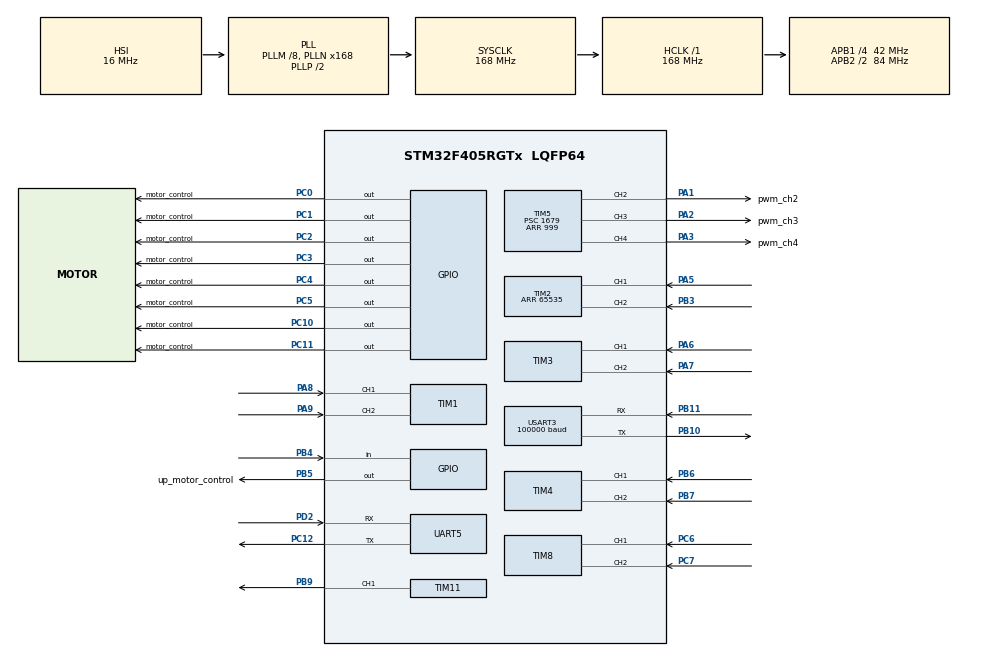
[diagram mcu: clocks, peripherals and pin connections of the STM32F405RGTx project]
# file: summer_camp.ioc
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Dma.Request0=USART3_RX
Dma.Request1=UART5_RX
Dma.UART5_RX.1.Direction=DMA_PERIPH_TO_MEMORY
Dma.UART5_RX.1.FIFOMode=DMA_FIFOMODE_DISABLE
Dma.UART5_RX.1.Instance=DMA1_Stream0
Dma.UART5_RX.1.MemDataAlignment=DMA_MDATAALIGN_BYTE
Dma.UART5_RX.1.MemInc=DMA_MINC_ENABLE
Dma.UART5_RX.1.Mode=DMA_NORMAL
Dma.UART5_RX.1.PeriphDataAlignment=DMA_PDATAALIGN_BYTE
Dma.UART5_RX.1.PeriphInc=DMA_PINC_DISABLE
Dma.UART5_RX.1.Priority=DMA_PRIORITY_HIGH
Dma.USART3_RX.0.Direction=DMA_PERIPH_TO_MEMORY
Dma.USART3_RX.0.FIFOMode=DMA_FIFOMODE_DISABLE
Dma.USART3_RX.0.Instance=DMA1_Stream1
Dma.USART3_RX.0.MemDataAlignment=DMA_MDATAALIGN_BYTE
Dma.USART3_RX.0.MemInc=DMA_MINC_ENABLE
Dma.USART3_RX.0.Mode=DMA_NORMAL
Dma.USART3_RX.0.PeriphDataAlignment=DMA_PDATAALIGN_BYTE
Dma.USART3_RX.0.PeriphInc=DMA_PINC_DISABLE
Dma.USART3_RX.0.Priority=DMA_PRIORITY_VERY_HIGH
FREERTOS.Tasks01=defaultTask,0,128,StartDefaultTask,Default,NULL,Dynamic,NULL,NULL
Mcu.Family=STM32F4
Mcu.Name=STM32F405RGTx
Mcu.Package=LQFP64
NVIC.DMA1_Stream0_IRQn=true\:5\:0\:false\:false\:true\:true\:false\:true\:true
NVIC.DMA1_Stream1_IRQn=true\:5\:0\:false\:false\:true\:true\:false\:true\:true
NVIC.PriorityGroup=NVIC_PRIORITYGROUP_4
NVIC.TIM6_DAC_IRQn=true\:15\:0\:false\:false\:true\:false\:true\:true\:true
NVIC.TimeBase=TIM6_DAC_IRQn
NVIC.TimeBaseIP=TIM6
NVIC.UART5_IRQn=true\:5\:0\:false\:false\:true\:true\:true\:true\:true
NVIC.USART3_IRQn=true\:5\:0\:false\:false\:true\:true\:true\:true\:true
PA1.GPIO_Label=pwm_ch2
PA1.Signal=S_TIM5_CH2
PA13.Mode=Serial_Wire
PA13.Signal=SYS_JTMS-SWDIO
PA14.Mode=Serial_Wire
PA14.Signal=SYS_JTCK-SWCLK
PA2.GPIO_Label=pwm_ch3
PA2.Signal=S_TIM5_CH3
PA3.GPIO_Label=pwm_ch4
PA3.Signal=S_TIM5_CH4
PA5.Signal=S_TIM2_CH1_ETR
PA6.Signal=S_TIM3_CH1
PA7.Signal=S_TIM3_CH2
PA8.Signal=S_TIM1_CH1
PA9.Signal=S_TIM1_CH2
PB10.Mode=Asynchronous
PB10.Signal=USART3_TX
PB11.Mode=Asynchronous
PB11.Signal=USART3_RX
PB3.Signal=S_TIM2_CH2
PB4.Signal=GPIO_Input
PB5.GPIO_Label=up_motor_control
PB5.Signal=GPIO_Output
PB6.Signal=S_TIM4_CH1
PB7.Signal=S_TIM4_CH2
PB9.Signal=S_TIM11_CH1
PC0.GPIO_Label=motor_control
PC0.Signal=GPIO_Output
PC1.GPIO_Label=motor_control
PC1.Signal=GPIO_Output
PC10.GPIO_Label=motor_control
PC10.Signal=GPIO_Output
PC11.GPIO_Label=motor_control
PC11.Signal=GPIO_Output
PC12.Mode=Asynchronous
PC12.Signal=UART5_TX
PC2.GPIO_Label=motor_control
PC2.Signal=GPIO_Output
PC3.GPIO_Label=motor_control
PC3.Signal=GPIO_Output
PC4.GPIO_Label=motor_control
PC4.Signal=GPIO_Output
PC5.GPIO_Label=motor_control
PC5.Signal=GPIO_Output
PC6.Signal=S_TIM8_CH1
PC7.Signal=S_TIM8_CH2
PD2.Mode=Asynchronous
PD2.Signal=UART5_RX
PH0-OSC_IN.Mode=HSE-External-Oscillator
PH0-OSC_IN.Signal=RCC_OSC_IN
PH1-OSC_OUT.Mode=HSE-External-Oscillator
PH1-OSC_OUT.Signal=RCC_OSC_OUT
ProjectManager.HeapSize=0x200
ProjectManager.StackSize=0x400
ProjectManager.TargetToolchain=MDK-ARM V5.32
RCC.48MHZClocksFreq_Value=84000000
RCC.AHBFreq_Value=168000000
RCC.APB1CLKDivider=RCC_HCLK_DIV4
RCC.APB1Freq_Value=42000000
RCC.APB1TimFreq_Value=84000000
RCC.APB2CLKDivider=RCC_HCLK_DIV2
RCC.APB2Freq_Value=84000000
RCC.APB2TimFreq_Value=168000000
RCC.CortexFreq_Value=168000000
RCC.HCLKFreq_Value=168000000
RCC.HSE_VALUE=25000000
RCC.HSI_VALUE=16000000
RCC.LSE_VALUE=32768
RCC.PLLM=8
RCC.PLLN=168
RCC.SYSCLKFreq_VALUE=168000000
RCC.SYSCLKSource=RCC_SYSCLKSOURCE_PLLCLK
RCC.VCOOutputFreq_Value=336000000
SH.S_TIM11_CH1.0=TIM11_CH1,PWM Generation1 CH1
SH.S_TIM1_CH1.0=TIM1_CH1,Encoder_Interface
SH.S_TIM1_CH2.0=TIM1_CH2,Encoder_Interface
SH.S_TIM2_CH1_ETR.0=TIM2_CH1,Encoder_Interface
SH.S_TIM2_CH2.0=TIM2_CH2,Encoder_Interface
SH.S_TIM3_CH1.0=TIM3_CH1,Encoder_Interface
SH.S_TIM3_CH2.0=TIM3_CH2,Encoder_Interface
SH.S_TIM4_CH1.0=TIM4_CH1,Encoder_Interface
SH.S_TIM4_CH2.0=TIM4_CH2,Encoder_Interface
SH.S_TIM5_CH2.0=TIM5_CH2,PWM Generation2 CH2
SH.S_TIM5_CH3.0=TIM5_CH3,PWM Generation3 CH3
SH.S_TIM5_CH4.0=TIM5_CH4,PWM Generation4 CH4
SH.S_TIM8_CH1.0=TIM8_CH1,Encoder_Interface
SH.S_TIM8_CH2.0=TIM8_CH2,Encoder_Interface
TIM1.EncoderMode=TIM_ENCODERMODE_TI12
TIM11.Channel=TIM_CHANNEL_1
TIM11.Period=99
TIM11.Prescaler=83
TIM2.EncoderMode=TIM_ENCODERMODE_TI12
TIM2.Period=65535
TIM3.EncoderMode=TIM_ENCODERMODE_TI12
TIM4.EncoderMode=TIM_ENCODERMODE_TI12
TIM5.Channel-PWM\ Generation2\ CH2=TIM_CHANNEL_2
TIM5.Channel-PWM\ Generation3\ CH3=TIM_CHANNEL_3
TIM5.Channel-PWM\ Generation4\ CH4=TIM_CHANNEL_4
TIM5.Period=999
TIM5.Prescaler=1679
UART5.VirtualMode=Asynchronous
USART3.BaudRate=100000
USART3.Mode=MODE_TX_RX
USART3.Parity=PARITY_EVEN
USART3.StopBits=STOPBITS_1
USART3.VirtualMode=VM_ASYNC
USART3.WordLength=WORDLENGTH_8B
VP_FREERTOS_VS_CMSIS_V1.Mode=CMSIS_V1
VP_SYS_VS_tim6.Mode=TIM6
VP_TIM11_VS_ClockSourceINT.Mode=Enable_Timer
VP_TIM5_VS_ClockSourceINT.Mode=Internal
board=custom

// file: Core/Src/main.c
/* USER CODE BEGIN Header */
/**
  ******************************************************************************
  * @file           : main.c
  * @brief          : Main program body
  ******************************************************************************
  * @attention
  *
  * Copyright (c) 2025 STMicroelectronics.
  * All rights reserved.
  *
  * This software is licensed under terms that can be found in the LICENSE file
  * in the root directory of this software component.
  * If no LICENSE file comes with this software, it is provided AS-IS.
  *
  ******************************************************************************
  */
/* USER CODE END Header */
#include "main.h"
#include "cmsis_os.h"
#include "dma.h"
#include "tim.h"
#include "usart.h"
#include "gpio.h"

/* USER CODE BEGIN Includes */
#include "bsp_rc.h"
#include "remote_control.h"
#include "stm32f4xx_it.h"
/* USER CODE END Includes */

/* USER CODE BEGIN PM */
extern uint8_t uart5_rx_buf[UART5_RX_LEN];
extern Massage msg;
/* USER CODE END PM */

void SystemClock_Config(void);
void MX_FREERTOS_Init(void);

/* USER CODE BEGIN 0 */
const RC_ctrl_t *local_rc_ctrl;
/* USER CODE END 0 */

int main(void)
{

  /* MCU Configuration--------------------------------------------------------*/

  /* Reset of all peripherals, Initializes the Flash interface and the Systick. */
  HAL_Init();

  /* Configure the system clock */
  SystemClock_Config();

  /* Initialize all configured peripherals */
  MX_GPIO_Init();
  MX_DMA_Init();
  MX_TIM1_Init();
  MX_TIM2_Init();
  MX_TIM3_Init();
  MX_TIM4_Init();
  MX_TIM5_Init();
  MX_TIM8_Init();
  MX_USART3_UART_Init();
  MX_UART5_Init();
  MX_TIM11_Init();
  /* USER CODE BEGIN 2 */
	HAL_TIM_PWM_Start(&htim5,TIM_CHANNEL_2);
	HAL_TIM_PWM_Start(&htim5,TIM_CHANNEL_3);
	HAL_TIM_PWM_Start(&htim5,TIM_CHANNEL_4);
	HAL_TIM_PWM_Start(&htim11,TIM_CHANNEL_1);

	__HAL_UART_ENABLE_IT(&huart5, UART_IT_IDLE);  // ?? IDLE ??
	huart5.Instance->CR1 |= USART_CR1_IDLEIE;     // ???????(????)
	HAL_UART_Receive_DMA(&huart5, uart5_rx_buf, UART5_RX_LEN);  // ?? DMA ??

//	__HAL_UART_ENABLE_IT(&huart5, UART_IT_IDLE);
//	HAL_UART_Receive_DMA(&huart5, uart5_rx_buf, UART5_RX_LEN);
	msg.x=0;msg.y=0;msg.z=0;msg.yaw=0;
	remote_control_init();
  local_rc_ctrl = get_remote_control_point();

	//dbus_uart_init();
  /* USER CODE END 2 */

  /* Call init function for freertos objects (in cmsis_os2.c) */
  MX_FREERTOS_Init();

  /* Start scheduler */
  osKernelStart();

  /* We should never get here as control is now taken by the scheduler */

  /* Infinite loop */
  while (1)
  {

  }
}

void SystemClock_Config(void)
{
  RCC_OscInitTypeDef RCC_OscInitStruct = {0};
  RCC_ClkInitTypeDef RCC_ClkInitStruct = {0};

  /** Configure the main internal regulator output voltage
  */
  __HAL_RCC_PWR_CLK_ENABLE();
  __HAL_PWR_VOLTAGESCALING_CONFIG(PWR_REGULATOR_VOLTAGE_SCALE1);

  /** Initializes the RCC Oscillators according to the specified parameters
  * in the RCC_OscInitTypeDef structure.
  */
  RCC_OscInitStruct.OscillatorType = RCC_OSCILLATORTYPE_HSI;
  RCC_OscInitStruct.HSIState = RCC_HSI_ON;
  RCC_OscInitStruct.HSICalibrationValue = RCC_HSICALIBRATION_DEFAULT;
  RCC_OscInitStruct.PLL.PLLState = RCC_PLL_ON;
  RCC_OscInitStruct.PLL.PLLSource = RCC_PLLSOURCE_HSI;
  RCC_OscInitStruct.PLL.PLLM = 8;
  RCC_OscInitStruct.PLL.PLLN = 168;
  RCC_OscInitStruct.PLL.PLLP = RCC_PLLP_DIV2;
  RCC_OscInitStruct.PLL.PLLQ = 4;
  if (HAL_RCC_OscConfig(&RCC_OscInitStruct) != HAL_OK)
  {
    Error_Handler();
  }

  /** Initializes the CPU, AHB and APB buses clocks
  */
  RCC_ClkInitStruct.ClockType = RCC_CLOCKTYPE_HCLK|RCC_CLOCKTYPE_SYSCLK
                              |RCC_CLOCKTYPE_PCLK1|RCC_CLOCKTYPE_PCLK2;
  RCC_ClkInitStruct.SYSCLKSource = RCC_SYSCLKSOURCE_PLLCLK;
  RCC_ClkInitStruct.AHBCLKDivider = RCC_SYSCLK_DIV1;
  RCC_ClkInitStruct.APB1CLKDivider = RCC_HCLK_DIV4;
  RCC_ClkInitStruct.APB2CLKDivider = RCC_HCLK_DIV2;

  if (HAL_RCC_ClockConfig(&RCC_ClkInitStruct, FLASH_LATENCY_5) != HAL_OK)
  {
    Error_Handler();
  }
}

void HAL_TIM_PeriodElapsedCallback(TIM_HandleTypeDef *htim)
{
  if (htim->Instance == TIM6) {
    HAL_IncTick();
  }
}

void Error_Handler(void)
{
  __disable_irq();
  while (1)
  {
  }
}

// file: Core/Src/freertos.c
/* USER CODE BEGIN Header */
/**
  ******************************************************************************
  * File Name          : freertos.c
  * Description        : Code for freertos applications
  ******************************************************************************
  * @attention
  *
  * Copyright (c) 2025 STMicroelectronics.
  * All rights reserved.
  *
  * This software is licensed under terms that can be found in the LICENSE file
  * in the root directory of this software component.
  * If no LICENSE file comes with this software, it is provided AS-IS.
  *
  ******************************************************************************
  */
/* USER CODE END Header */

#include "FreeRTOS.h"
#include "task.h"
#include "main.h"
#include "cmsis_os.h"

/* USER CODE BEGIN Includes */
#include "tim.h"
#include "math.h"
#include <stdlib.h>
#include "bsp_rc.h"
#include "remote_control.h"
#include "stm32f4xx_it.h"
/* USER CODE END Includes */

/* USER CODE BEGIN PTD */

typedef struct{
	int now;
	int last;
	int vref;
	int err;
	int pout;
	int iout;
	int out;

	TIM_HandleTypeDef encoder;  //读取电机编码器回传数据
	GPIO_TypeDef *ENG1;					//in1通道
  uint16_t ENP1;							//
	GPIO_TypeDef *ENG2;					//in2通道
  uint16_t ENP2;							//

}Motor;

typedef struct{
    int RB;
    int RF;
    int LB;
    int LF;
		int UP;
}Speed;

/* USER CODE END PTD */

/* USER CODE BEGIN PD */

#define Stop_State 0
#define Forward_State 1
#define Back_State 2
#define Right_State 3
#define Left_State 4
#define Rrotate_State 5
#define Lrotate_State 6

#define Normal 0
#define Fast 1
#define Slow 2

#define out_control 70
/* USER CODE END PD */

/* USER CODE BEGIN Variables */

int state=Stop_State;
int up_state=Stop_State;
int speedset=Slow;
extern Massage msg;

Speed myspeed;
Motor RB;
Motor RF;
Motor LB;
Motor LF;
Motor UP;

extern const RC_ctrl_t *local_rc_ctrl;
/* USER CODE END Variables */
osThreadId defaultTaskHandle;

/* USER CODE BEGIN FunctionPrototypes */
osThreadId MotorHandle;
osThreadId GimbalHandle;
/* USER CODE END FunctionPrototypes */

void StartDefaultTask(void const * argument);

void MX_FREERTOS_Init(void); /* (MISRA C 2004 rule 8.1) */

/* GetIdleTaskMemory prototype (linked to static allocation support) */
void vApplicationGetIdleTaskMemory( StaticTask_t **ppxIdleTaskTCBBuffer, StackType_t **ppxIdleTaskStackBuffer, uint32_t *pulIdleTaskStackSize );

/* USER CODE BEGIN GET_IDLE_TASK_MEMORY */
static StaticTask_t xIdleTaskTCBBuffer;
static StackType_t xIdleStack[configMINIMAL_STACK_SIZE];

void vApplicationGetIdleTaskMemory( StaticTask_t **ppxIdleTaskTCBBuffer, StackType_t **ppxIdleTaskStackBuffer, uint32_t *pulIdleTaskStackSize )
{
  *ppxIdleTaskTCBBuffer = &xIdleTaskTCBBuffer;
  *ppxIdleTaskStackBuffer = &xIdleStack[0];
  *pulIdleTaskStackSize = configMINIMAL_STACK_SIZE;
  /* place for user code */
}

void MotorFunc(void const * argument);
void GimbalFunc(void const * argument);
/* USER CODE END GET_IDLE_TASK_MEMORY */

void MX_FREERTOS_Init(void) {

  /* Create the thread(s) */
  /* definition and creation of defaultTask */
  osThreadDef(defaultTask, StartDefaultTask, osPriorityNormal, 0, 128);
  defaultTaskHandle = osThreadCreate(osThread(defaultTask), NULL);

  /* USER CODE BEGIN RTOS_THREADS */
  /* add threads, ... */

  osThreadDef(Motor, MotorFunc, osPriorityNormal, 0, 512);
  MotorHandle = osThreadCreate(osThread(Motor), NULL);

	osThreadDef(Gimbal, GimbalFunc, osPriorityNormal, 0, 512);
  GimbalHandle = osThreadCreate(osThread(Gimbal), NULL);
  /* USER CODE END RTOS_THREADS */

}

void StartDefaultTask(void const * argument)
{
  /* USER CODE BEGIN StartDefaultTask */
  /* Infinite loop */
  for(;;)
  {
    osDelay(10);
  }
  /* USER CODE END StartDefaultTask */
}

/* USER CODE BEGIN Application */

/**
  * @brief  底盘任务线程
  * @param  None
  * @retval None
  */
void Macnuam(int vx, int vy, int vz, Speed *speed)
{
  speed->RB = -vx + vy - vz;
  speed->RF = vx - vy - vz;
  speed->LB = -vx - vy + vz;
  speed->LF = vx + vy + vz;
}
void Calculate(int vset, Motor *motor, int breakkill)
{
	motor->last = motor->now;
	motor->now = __HAL_TIM_GET_COUNTER(&motor->encoder);
	motor->vref = motor->now - motor->last;
	if(motor->vref > 0x7fff)
	{
		motor->vref -= 0xffff;
	}
	else if(motor->vref < -0x7fff)
	{
		motor->vref += 0xffff;
	}
	motor->err = vset - motor->vref;

	motor->pout = 15 * motor->err;

	motor->iout += 2 * motor->err;
	if(motor->iout > 100)
	{
		motor->iout = 100;
	}
	else if(motor->iout < -100)
	{
		motor->iout = -100;
	}

	motor->out = motor->iout + motor->pout;
	if(motor->out > 980)
	{
		motor->out = 980;
	}
	else if(motor->out < -980)
	{
		motor->out = -980;
	}

	if(breakkill==1)
	{
		HAL_GPIO_WritePin(motor->ENG1,motor->ENP1,GPIO_PIN_RESET);
	  HAL_GPIO_WritePin(motor->ENG2,motor->ENP2,GPIO_PIN_RESET);
	}
	else if(breakkill==2)
	{
		HAL_GPIO_WritePin(motor->ENG1,motor->ENP1,GPIO_PIN_SET);
	  HAL_GPIO_WritePin(motor->ENG2,motor->ENP2,GPIO_PIN_SET);
	}
	else if(motor->out > out_control)
	{
		HAL_GPIO_WritePin(motor->ENG1,motor->ENP1,GPIO_PIN_RESET);
	  HAL_GPIO_WritePin(motor->ENG2,motor->ENP2,GPIO_PIN_SET);
	}
	else if(motor->out < -out_control)
	{
		HAL_GPIO_WritePin(motor->ENG1,motor->ENP1,GPIO_PIN_SET);
	  HAL_GPIO_WritePin(motor->ENG2,motor->ENP2,GPIO_PIN_RESET);
	}
	else if(motor->out>=-out_control&&motor->out<=out_control)
	{
		HAL_GPIO_WritePin(motor->ENG1,motor->ENP1,GPIO_PIN_RESET);
	  HAL_GPIO_WritePin(motor->ENG2,motor->ENP2,GPIO_PIN_RESET);
	}
//	__HAL_TIM_SET_COMPARE(&motor->PWM, motor->PWMchannel, abs(motor->out));

}
void MotorFunc(void const * argument)
{
  /* USER CODE BEGIN MotorFunc */
	HAL_TIM_Encoder_Start(&htim1,TIM_CHANNEL_1);
	HAL_TIM_Encoder_Start(&htim1,TIM_CHANNEL_2);
	HAL_TIM_Encoder_Start(&htim2,TIM_CHANNEL_1);
	HAL_TIM_Encoder_Start(&htim2,TIM_CHANNEL_2);
	HAL_TIM_Encoder_Start(&htim3,TIM_CHANNEL_1);
	HAL_TIM_Encoder_Start(&htim3,TIM_CHANNEL_2);
	HAL_TIM_Encoder_Start(&htim4,TIM_CHANNEL_1);
	HAL_TIM_Encoder_Start(&htim4,TIM_CHANNEL_2);

	RF.encoder = htim1;
	RB.encoder = htim3;
	LF.encoder = htim2;
	LB.encoder = htim4;

	RF.ENG1 = GPIOC;
	RF.ENP1 = GPIO_PIN_3;
	RF.ENG2 = GPIOC;
	RF.ENP2 = GPIO_PIN_2;

	RB.ENG1 = GPIOC;
	RB.ENP1 = GPIO_PIN_5;
	RB.ENG2 = GPIOC;
	RB.ENP2 = GPIO_PIN_4;

	LF.ENG1 = GPIOC;
	LF.ENP1 = GPIO_PIN_0;
	LF.ENG2 = GPIOC;
	LF.ENP2 = GPIO_PIN_1;

	LB.ENG1 = GPIOC;
	LB.ENP1 = GPIO_PIN_11;
	LB.ENG2 = GPIOC;
	LB.ENP2 = GPIO_PIN_10;

  /* Infinite loop */
  for(;;)
  {
		//底盘控制
		if(local_rc_ctrl->rc.s[0]==2)
		{
			Macnuam(local_rc_ctrl->rc.ch[3]/66, local_rc_ctrl->rc.ch[0]/66, local_rc_ctrl->rc.ch[2]/66, &myspeed);
		}
		else if(local_rc_ctrl->rc.s[0]==3)
		{
			Macnuam(msg.x*10, -msg.y*10, msg.yaw*10, &myspeed);
		}
		Calculate(myspeed.RB, &RB, 0);
		Calculate(myspeed.RF, &RF, 0);
		Calculate(myspeed.LB, &LB, 0);
		Calculate(myspeed.LF, &LF, 0);

    osDelay(3);
  }
}

/**
  * @brief  云台任务线程
  * @param  None
  * @retval None
  */
#define open_angle 20   		//夹爪开
#define close_angle 115   	//夹爪关
#define mid_angle  70 			//正中
#define down_angle 155	 		//正下

int angle_1=open_angle;
int angle_2=mid_angle;
int total_encoder=100;
int encoder_init=0;
void Servo_SetAngle_1(int angle)
{
    if(angle > 180) angle = 180;
    uint32_t ccr = 25 + ((uint32_t)angle * (125 - 25)) / 180;
//    __HAL_TIM_SET_COMPARE(&htim5, TIM_CHANNEL_2, ccr);//25-125
	  __HAL_TIM_SET_COMPARE(&htim5, TIM_CHANNEL_3, ccr);
//	  __HAL_TIM_SET_COMPARE(&htim5, TIM_CHANNEL_4, ccr);
}
void Servo_SetAngle_2(int angle)
{
    if(angle > 180) angle = 180;
    uint32_t ccr = 25 + ((uint32_t)angle * (125 - 25)) / 180;
//    __HAL_TIM_SET_COMPARE(&htim5, TIM_CHANNEL_2, ccr);//25-125
//	  __HAL_TIM_SET_COMPARE(&htim5, TIM_CHANNEL_3, ccr);
	  __HAL_TIM_SET_COMPARE(&htim5, TIM_CHANNEL_4, ccr);
}
void Calculate2(int vset, Motor *motor)
{
	motor->last = motor->now;
	motor->now = __HAL_TIM_GET_COUNTER(&motor->encoder);
	motor->vref = motor->now - motor->last;
	if(motor->vref > 0x7fff)
	{
		motor->vref -= 0xffff;
	}
	else if(motor->vref < -0x7fff)
	{
		motor->vref += 0xffff;
	}
	motor->err = vset - motor->vref;

	motor->pout = 15 * motor->err;

	motor->iout += 2 * motor->err;
	if(motor->iout > 100)
	{
		motor->iout = 100;
	}
	else if(motor->iout < -100)
	{
		motor->iout = -100;
	}

	motor->out = motor->iout + motor->pout;
	if(motor->out > 980)
	{
		motor->out = 980;
	}
	else if(motor->out < -980)
	{
		motor->out = -980;
	}
	__HAL_TIM_SET_COMPARE(&htim11, TIM_CHANNEL_1, abs(motor->out));
	if(motor->out > out_control)
	{
		HAL_GPIO_WritePin(motor->ENG1,motor->ENP1,GPIO_PIN_RESET);
//	  HAL_GPIO_WritePin(motor->ENG2,motor->ENP2,GPIO_PIN_SET);
	}
	else if(motor->out < -out_control)
	{
		HAL_GPIO_WritePin(motor->ENG1,motor->ENP1,GPIO_PIN_SET);
//	  HAL_GPIO_WritePin(motor->ENG2,motor->ENP2,GPIO_PIN_RESET);
	}
}
void Macnuam2(int vx, int vy, int vz, Speed *speed)
{
  speed->UP = vx + vy - vz;
}
void GimbalFunc(void const * argument)
{//2底下 3中间
	up_state=Stop_State;
	HAL_TIM_Encoder_Start(&htim8,TIM_CHANNEL_1);
	HAL_TIM_Encoder_Start(&htim8,TIM_CHANNEL_2);

	UP.encoder = htim8;

	UP.ENG1 = GPIOB;
	UP.ENP1 = GPIO_PIN_5;
//	UP.ENG2 = GPIOB;
//	UP.ENP2 = GPIO_PIN_4;

	Servo_SetAngle_1(angle_1);//夹爪
	Servo_SetAngle_2(angle_2);//俯仰
	for(;;)
	{
		//夹爪电机控制
		if(local_rc_ctrl->rc.s[1]==2)
		{
			angle_1=open_angle;
		}
		else if(local_rc_ctrl->rc.s[1]==3)
		{
			angle_1=close_angle;
		}
		else
		{
			angle_1=angle_1;
		}
		//俯仰电机控制
		if(local_rc_ctrl->rc.ch[4]==660)
		{
			if(angle_2<down_angle)
			{
				angle_2+=1;
			}
			else
			{
				angle_2=angle_2;
			}
		}
		else if(local_rc_ctrl->rc.ch[4]==-660)
		{
			if(angle_2>mid_angle)
			{
				angle_2-=1;
			}
			else
			{
				angle_2=angle_2;
			}
		}
		else
		{
			angle_2=angle_2;
		}
		//命令发送
		Servo_SetAngle_1(angle_1);
		Servo_SetAngle_2(angle_2);

//		//机械臂控制
//		if(encoder_init)
//		{
//			if(total_encoder+UP.vref>1350)
//			{
//				total_encoder=total_encoder;
//				Macnuam2(0, 0, 0, &myspeed);
//				Calculate2(myspeed.UP, &UP);
//			}
//			else if(total_encoder+UP.vref<140)
//			{
//				total_encoder=total_encoder;
//				Macnuam2(0, 0, 0, &myspeed);
//				Calculate2(myspeed.UP, &UP);
//			}
//			else
//			{
				if(local_rc_ctrl->rc.s[0]==2)
				{
					Macnuam2(local_rc_ctrl->rc.ch[1]/132, 0, 0, &myspeed);
				}
				else if(local_rc_ctrl->rc.s[0]==3)
				{
					Macnuam2(msg.z*10, 0, 0, &myspeed);
				}
//				total_encoder+=UP.vref;
				Calculate2(myspeed.UP, &UP);
//			}
//		}
//		else
//		{
//			if(local_rc_ctrl->rc.ch[1]/132>0)
//			{
//			Macnuam2(local_rc_ctrl->rc.ch[1]/132, 0, 0, &myspeed);
//			}
//		total_encoder+=UP.vref;
//			Calculate2(myspeed.UP, &UP);
//			if(total_encoder>150)
//			{
//				encoder_init=1;
//			}
//	}

		osDelay(8);
	}
}

/* USER CODE END Application */
